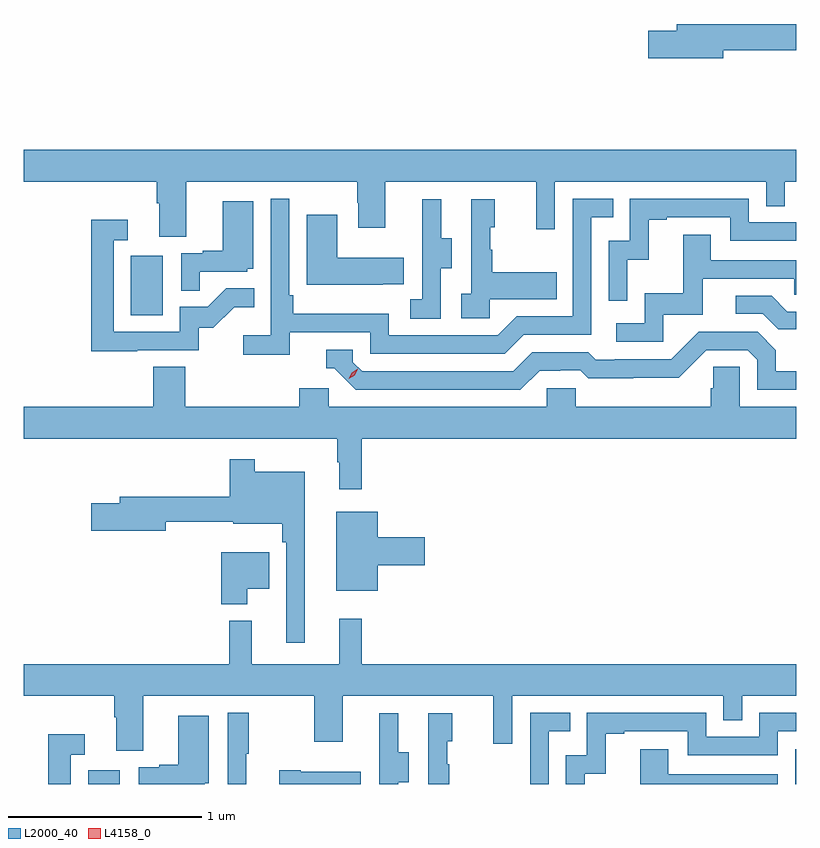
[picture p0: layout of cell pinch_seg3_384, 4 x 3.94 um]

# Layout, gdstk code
import gdstk
lib = gdstk.Library(unit=1e-6, precision=1e-09)
def R(c, l, rs):  # rectangles x0, y0, x1, y1
    for r in rs: c.add(gdstk.rectangle(r[:2], r[2:], *l))
def P(c, l, *ps):  # polygons
    for p in ps: c.add(gdstk.Polygon(p, *l))
L2000_40 = (2000, 40)
L4158_0 = (4158, 0)

pinch_seg3_384 = lib.new_cell('pinch_seg3_384')
R(pinch_seg3_384, L2000_40, [(964.298,685.807,964.462,685.879), (967.962,685.807,967.966,685.987), (964.52,688.236,964.684,688.543)])
P(pinch_seg3_384, L2000_40, [(967.588,689.608),(967.966,689.608),(967.966,689.744),(967.349,689.744),(967.349,689.708),(967.2,689.708),(967.2,689.566),(967.588,689.566)],
  [(964.807,688.928),(965.692,688.928),(965.692,688.817),(965.699,688.817),(965.699,688.689),(965.839,688.689),(965.839,688.928),(966.62,688.928),(966.62,688.68),(966.717,688.68),(966.717,688.928),(967.812,688.928),(967.812,688.801),(967.908,688.801),(967.908,688.928),(967.966,688.928),(967.966,689.092),(963.966,689.092),(963.966,688.928),(964.655,688.928),(964.655,688.816),(964.667,688.816),(964.667,688.642),(964.807,688.642)],
  [(965.342,688.146),(965.76,688.146),(965.76,688.035),(966.457,688.035),(966.556,688.134),(966.906,688.134),(966.906,688.743),(967.019,688.743),(967.019,688.839),(966.81,688.839),(966.81,688.23),(966.519,688.23),(966.42,688.131),(965.856,688.131),(965.856,688.243),(965.36,688.243),(965.36,688.339),(965.34,688.339),(965.34,688.84),(965.244,688.84),(965.244,688.132),(965.103,688.132),(965.103,688.03),(965.342,688.03)],
  [(967.092,688.523),(967.202,688.523),(967.202,688.731),(967.297,688.731),(967.297,688.743),(967.626,688.743),(967.626,688.62),(967.966,688.62),(967.966,688.716),(967.722,688.716),(967.722,688.839),(967.104,688.839),(967.104,688.62),(966.996,688.62),(966.996,688.311),(967.092,688.311)],
  [(966.378,688.319),(966.725,688.319),(966.725,688.459),(966.391,688.459),(966.391,688.574),(966.381,688.574),(966.381,688.692),(966.406,688.692),(966.406,688.837),(966.282,688.837),(966.282,688.346),(966.231,688.346),(966.231,688.221),(966.378,688.221)],
  [(966.126,688.48),(966.181,688.48),(966.181,688.635),(966.127,688.635),(966.127,688.837),(966.029,688.837),(966.029,688.623),(966.03,688.623),(966.03,688.319),(965.967,688.319),(965.967,688.216),(966.126,688.216)],
  [(964.877,688.461),(965.124,688.461),(965.124,688.476),(965.155,688.476),(965.155,688.825),(964.997,688.825),(964.997,688.57),(964.893,688.57),(964.893,688.557),(964.782,688.557),(964.782,688.363),(964.877,688.363)],
  [(965.825,688.397),(965.933,688.397),(965.933,688.534),(965.59,688.534),(965.59,688.756),(965.432,688.756),(965.432,688.394),(965.825,688.394)],
  [(964.553,688.053),(964.872,688.053),(964.872,688.17),(964.948,688.17),(965.055,688.277),(965.159,688.277),(965.159,688.376),(965.015,688.376),(964.917,688.278),(964.773,688.278),(964.773,688.149),(964.431,688.149),(964.431,688.623),(964.504,688.623),(964.504,688.729),(964.315,688.729),(964.315,688.048),(964.553,688.048)],
  [(967.278,688.239),(967.483,688.239),(967.483,688.425),(967.957,688.425),(967.957,688.341),(967.966,688.341),(967.966,688.521),(967.525,688.521),(967.525,688.651),(967.381,688.651),(967.381,688.348),(967.182,688.348),(967.182,688.194),(967.035,688.194),(967.035,688.098),(967.278,688.098)],
  [(967.966,688.254),(967.921,688.254),(967.84,688.335),(967.653,688.335),(967.653,688.242),(967.794,688.242),(967.874,688.162),(967.966,688.162)],
  [(966.637,687.948),(966.744,687.948),(966.744,687.951),(966.847,687.951),(966.889,687.909),(967.122,687.909),(967.122,687.911),(967.358,687.911),(967.5,688.053),(967.716,688.053),(967.764,688.005),(967.764,687.849),(967.966,687.849),(967.966,687.945),(967.861,687.945),(967.861,688.055),(967.767,688.149),(967.461,688.149),(967.32,688.008),(967.027,688.008),(967.027,688.005),(966.928,688.005),(966.889,688.044),(966.6,688.044),(966.501,687.945),(965.718,687.945),(965.67,687.993),(965.67,688.056),(965.531,688.056),(965.531,687.96),(965.574,687.96),(965.685,687.849),(966.538,687.849)],
  [(965.717,687.596),(967.966,687.596),(967.966,687.76),(967.674,687.76),(967.674,687.968),(967.537,687.968),(967.537,687.858),(967.523,687.858),(967.523,687.76),(966.825,687.76),(966.825,687.858),(966.675,687.858),(966.675,687.76),(965.544,687.76),(965.544,687.858),(965.393,687.858),(965.393,687.76),(964.802,687.76),(964.802,687.968),(964.637,687.968),(964.637,687.76),(963.966,687.76),(963.966,687.596),(965.589,687.596),(965.589,687.473),(965.6,687.473),(965.6,687.333),(965.717,687.333)],
  [(965.422,687.424),(965.161,687.424),(965.161,687.49),(965.032,687.49),(965.032,687.295),(964.463,687.295),(964.463,687.261),(964.314,687.261),(964.314,687.119),(964.702,687.119),(964.702,687.166),(965.051,687.166),(965.051,687.155),(965.305,687.155),(965.305,687.059),(965.325,687.059),(965.325,686.538),(965.422,686.538)],
  [(965.8,686.939),(966.043,686.939),(966.043,687.086),(965.8,687.086),(965.8,687.217),(965.585,687.217),(965.585,686.807),(965.8,686.807)],
  [(965.122,686.819),(965.236,686.819),(965.236,687.007),(964.988,687.007),(964.988,686.738),(965.122,686.738)],
  [(964.585,686.264),(965.47,686.264),(965.47,686.025),(965.617,686.025),(965.617,686.264),(966.398,686.264),(966.398,686.016),(966.495,686.016),(966.495,686.264),(967.59,686.264),(967.59,686.137),(967.686,686.137),(967.686,686.264),(967.966,686.264),(967.966,686.428),(965.717,686.428),(965.717,686.662),(965.6,686.662),(965.6,686.428),(965.147,686.428),(965.147,686.653),(965.029,686.653),(965.029,686.428),(963.966,686.428),(963.966,686.264),(964.433,686.264),(964.433,686.152),(964.445,686.152),(964.445,685.978),(964.585,685.978)],
  [(965.119,685.963),(965.131,685.963),(965.131,686.176),(965.022,686.176),(965.022,685.807),(965.119,685.807)],
  [(966.87,685.859),(966.98,685.859),(966.98,686.067),(967.075,686.067),(967.075,686.079),(967.404,686.079),(967.404,685.956),(967.872,685.956),(967.872,686.079),(967.966,686.079),(967.966,686.175),(967.776,686.175),(967.776,686.052),(967.5,686.052),(967.5,686.175),(966.882,686.175),(966.882,685.956),(966.774,685.956),(966.774,685.807),(966.87,685.807)],
  [(966.684,686.079),(966.797,686.079),(966.797,686.175),(966.588,686.175),(966.588,685.807),(966.684,685.807)],
  [(965.904,685.816),(965.959,685.816),(965.959,685.971),(965.905,685.971),(965.905,686.173),(965.807,686.173),(965.807,685.959),(965.808,685.959),(965.808,685.807),(965.904,685.807)],
  [(966.169,685.91),(966.159,685.91),(966.159,686.028),(966.184,686.028),(966.184,686.173),(966.06,686.173),(966.06,685.807),(966.169,685.807)],
  [(964.902,685.812),(964.924,685.812),(964.924,686.161),(964.766,686.161),(964.766,685.906),(964.667,685.906),(964.667,685.893),(964.56,685.893),(964.56,685.807),(964.902,685.807)],
  [(964.209,685.959),(964.282,685.959),(964.282,686.065),(964.093,686.065),(964.093,685.807),(964.209,685.807)],
  [(967.872,685.857),(967.303,685.857),(967.303,685.987),(967.159,685.987),(967.159,685.807),(967.872,685.807)],
  [(965.711,685.87),(965.401,685.87),(965.401,685.878),(965.289,685.878),(965.289,685.807),(965.711,685.807)])
P(pinch_seg3_384, L4158_0, [(965.648,687.906),(965.648,687.906),(965.664,687.938),(965.695,687.957),(965.695,687.957),(965.695,687.957),(965.679,687.925),(965.649,687.906)])

lib.write_gds('pinch_seg3_384.gds')
